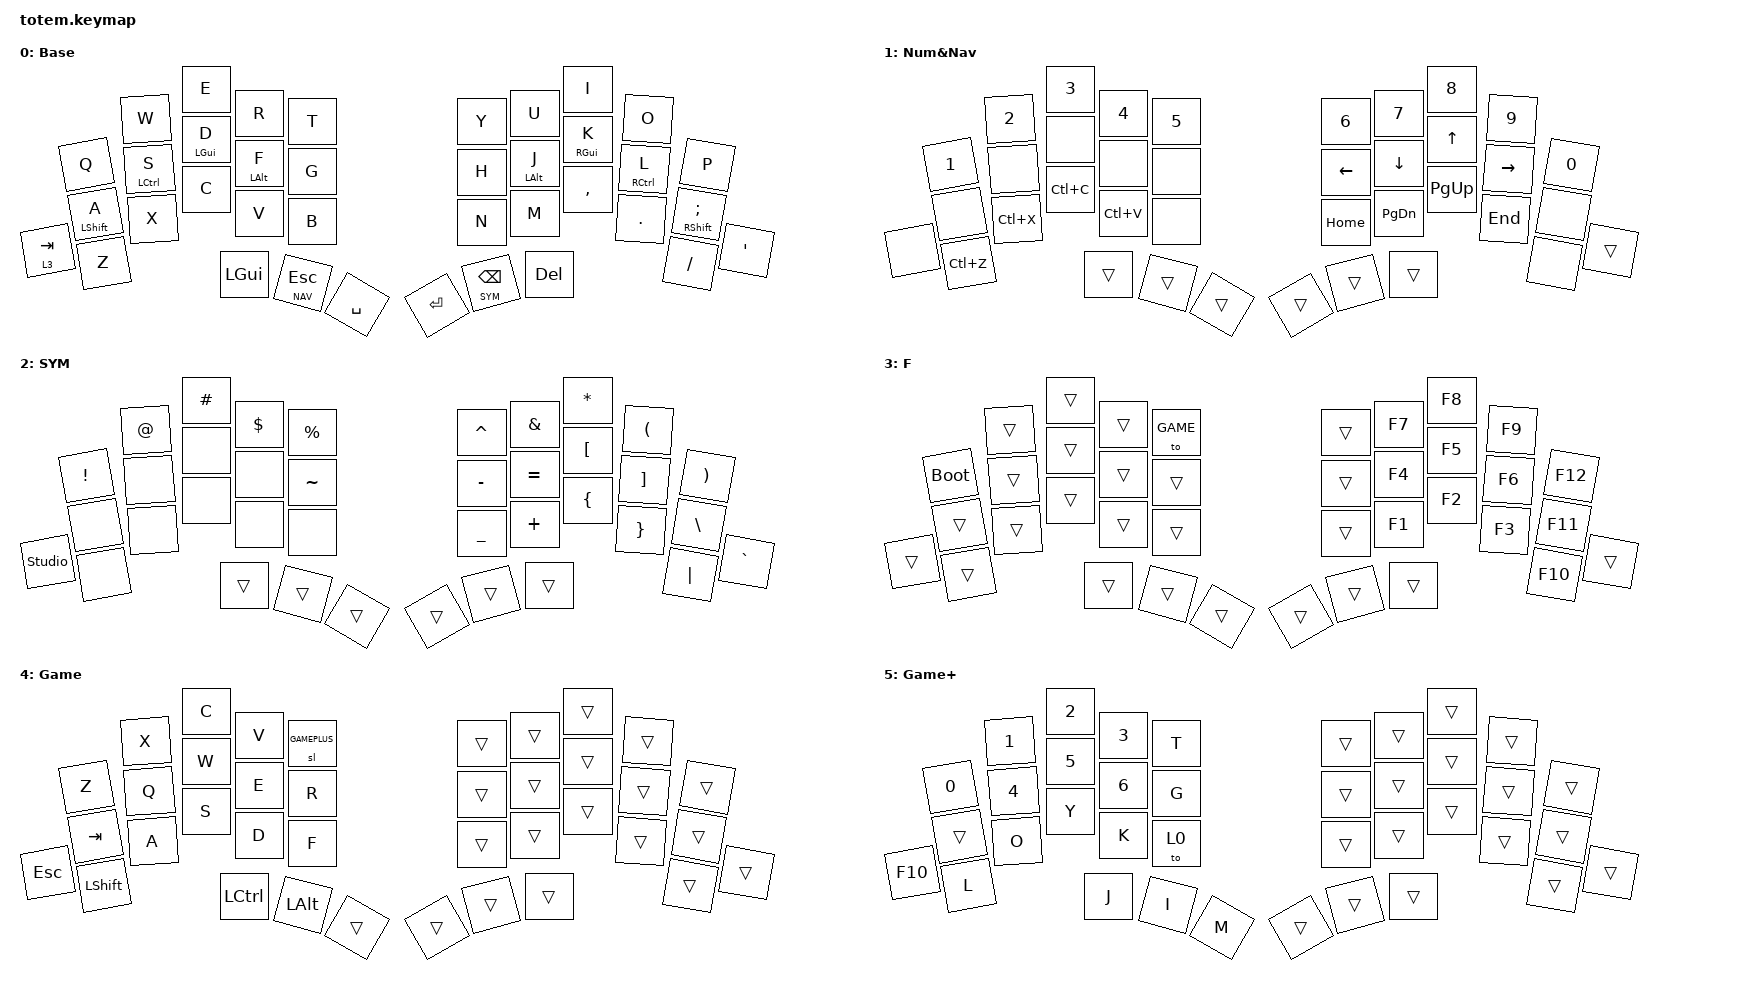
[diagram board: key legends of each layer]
//
//                                                        ▀▀▀▀▀     ▀▀▀▀▀          ▀▀█▀▀
//                                                        ▄▀▀▀▄  ▄  ▄▀▀▀▄  ▄  ▄▀▀▀▄  █  ▄▀▀▀▄
//                                                        █   █  █  █   █  █  █   █  █  █   █
//                                                         ▀▀▀   █   ▀▀▀   █   ▀▀▀   ▀   ▀▀▀
//                                                               █      ▄▄▄█▄▄▄    █   █  
//                                                               ▀      █  █  █     █▄█
//                                                             ▀▀▀▀▀    █  █  █      ▀
//                                                                      ▀  ▀  ▀
//
// ▄▄▄▄▄▄▄▄▄▄▄▄▄▄▄▄▄▄▄▄▄▄▄▄▄▄▄▄▄▄▄▄▄▄▄▄▄▄▄▄▄▄▄▄▄▄▄▄▄▄▄▄▄▄▄▄▄▄▄▄▄▄▄▄▄▄▄▄▄▄▄▄▄▄▄▄▄▄▄▄▄▄▄▄▄▄▄▄▄▄▄▄▄▄▄▄▄▄▄▄▄▄▄▄▄▄▄▄▄▄▄▄▄▄▄▄▄▄▄▄▄▄▄▄▄▄▄▄▄▄▄▄▄▄▄▄▄▄▄▄▄▄▄▄▄▄▄▄▄
       

#include <behaviors.dtsi>
#include <dt-bindings/zmk/keys.h>
#include <dt-bindings/zmk/bt.h>
#include <dt-bindings/zmk/outputs.h>

#define BASE 0
#define NAV  1
#define SYM  2
#define FUN  3
#define GAME 4
#define GAMEPLUS 5

/ {
    behaviors {
        hm: homerow_mods {
            compatible = "zmk,behavior-hold-tap";
            label = "HOMEROW_MODS";
            #binding-cells = <2>;
            flavor = "tap-preferred";
            tapping-term-ms = <200>;
            quick-tap-ms = <125>;
            global-quick-tap;
            require-prior-idle-ms = <120>;
            bindings = <&kp>, <&kp>;
        };

        tl: layer_tap_sym {
            compatible = "zmk,behavior-hold-tap";
            #binding-cells = <2>;
            bindings = <&mo>, <&kp>;
            flavor = "hold-preferred";
            tapping-term-ms = <200>;
            quick-tap-ms = <125>;
            //require-prior-idle-ms = <75>
        };
    };

	combos { compatible = "zmk,combos"; };

        keymap {
                compatible = "zmk,keymap";
// ▄▄▄▄▄▄▄▄▄▄▄▄▄▄▄▄▄▄▄▄▄▄▄▄▄▄▄▄▄▄▄▄▄▄▄▄▄▄▄▄▄▄▄▄▄▄▄▄▄▄▄▄▄▄▄▄▄▄▄▄▄▄▄▄▄▄▄▄▄▄▄▄▄▄▄▄▄▄▄▄▄▄▄▄▄▄▄▄▄▄▄▄▄▄▄▄▄▄▄▄▄▄▄▄▄▄▄▄▄▄▄▄▄▄▄▄▄▄▄▄▄▄▄▄▄▄▄▄▄▄▄▄▄▄▄▄▄▄▄▄▄▄▄▄▄▄▄▄▄

                base_layer {
// ┏━━━━━━━━━━━━━━━━━━━━━━━━━━━━━━━━━━━━━━━┓
label= "BASE"                              ;
display-name = "Base"                      ;
// ┗━━━━━━━━━━━━━━━━━━━━━━━━━━━━━━━━━━━━━━━┛
//             ┏━━━━━━━━━━━┳━━━━━━━━━━━┳━━━━━━━━━━━┳━━━━━━━━━━━┳━━━━━━━━━━━┓   ┏━━━━━━━━━━━┳━━━━━━━━━━━┳━━━━━━━━━━━┳━━━━━━━━━━━┳━━━━━━━━━━━┓
//             ┃     Q     ┃     W     ┃     E     ┃     R     ┃     T     ┃   ┃     Y     ┃     U     ┃     I     ┃     O     ┃     P     ┃
//             ┣━━━━━━━━━━━╋━━━━━━━━━━━╋━━━━━━━━━━━╋━━━━━━━━━━━╋━━━━━━━━━━━┫   ┣━━━━━━━━━━━╋━━━━━━━━━━━╋━━━━━━━━━━━╋━━━━━━━━━━━╋━━━━━━━━━━━┫
//             ┃ SFT A     ┃ CTR S     ┃ GUI D     ┃     F     ┃     G     ┃   ┃     H     ┃     J     ┃ GUI K     ┃ CTR L     ┃ SFT ;     ┃
// ┏━━━━━━━━━━━╋━━━━━━━━━━━╋━━━━━━━━━━━╋━━━━━━━━━━━╋━━━━━━━━━━━╋━━━━━━━━━━━┫   ┣━━━━━━━━━━━╋━━━━━━━━━━━╋━━━━━━━━━━━╋━━━━━━━━━━━╋━━━━━━━━━━━╋━━━━━━━━━━━┓
// ┃    TAB    ┃     Z     ┃     X     ┃     C     ┃     V     ┃     B     ┃   ┃     N     ┃     M     ┃     ,     ┃     .     ┃     /     ┃     '     ┃
// ┗━━━━━━━━━━━┻━━━━━━━━━━━┻━━━━━━━━━━━╋━━━━━━━━━━━╋━━━━━━━━━━━╋━━━━━━━━━━━┫   ┣━━━━━━━━━━━╋━━━━━━━━━━━╋━━━━━━━━━━━╋━━━━━━━━━━━┻━━━━━━━━━━━┻━━━━━━━━━━━┛
//                                     ┃    GUI    ┃    ESC    ┃    SPC    ┃   ┃   ENTER   ┃   BKSPC   ┃    DEL    ┃
//                                     ┗━━━━━━━━━━━┻━━━━━━━━━━━┻━━━━━━━━━━━┛   ┗━━━━━━━━━━━┻━━━━━━━━━━━┻━━━━━━━━━━━┛
 bindings = <
// ╷           ╷             ╷           ╷           ╷           ╷           ╷   ╷           ╷           ╷           ╷           ╷           ╷           ╷

                &kp Q        &kp W        &kp E        &kp R         &kp T           &kp Y     &kp U          &kp I        &kp O        &kp P
                &hm LSHFT A  &hm LCTRL S  &hm LGUI D   &hm LALT F    &kp G           &kp H     &hm LALT J     &hm RGUI K   &hm RCTRL L  &hm RSHFT SEMI
    &lt 3 TAB   &kp Z        &kp X        &kp C        &kp V         &kp B           &kp N     &kp M          &kp COMMA    &kp DOT      &kp FSLH        &kp APOS
                                          &kp LGUI     &tl NAV ESC   &kp SPACE       &kp RET   &tl SYM BSPC   &kp DEL
                        >;
                };

// ▄▄▄▄▄▄▄▄▄▄▄▄▄▄▄▄▄▄▄▄▄▄▄▄▄▄▄▄▄▄▄▄▄▄▄▄▄▄▄▄▄▄▄▄▄▄▄▄▄▄▄▄▄▄▄▄▄▄▄▄▄▄▄▄▄▄▄▄▄▄▄▄▄▄▄▄▄▄▄▄▄▄▄▄▄▄▄▄▄▄▄▄▄▄▄▄▄▄▄▄▄▄▄▄▄▄▄▄▄▄▄▄▄▄▄▄▄▄▄▄▄▄▄▄▄▄▄▄▄▄▄▄▄▄▄▄▄▄▄▄▄▄▄▄▄▄▄▄▄


                nav_layer {
// ┏━━━━━━━━━━━━━━━━━━━━━━━━━━━━━━━━━━━━━━━┓
label= "NAV"                               ;
display-name = "Num&Nav"                   ;
// ┗━━━━━━━━━━━━━━━━━━━━━━━━━━━━━━━━━━━━━━━┛
//             ┏━━━━━━━━━━━┳━━━━━━━━━━━┳━━━━━━━━━━━┳━━━━━━━━━━━┳━━━━━━━━━━━┓   ┏━━━━━━━━━━━┳━━━━━━━━━━━┳━━━━━━━━━━━┳━━━━━━━━━━━┳━━━━━━━━━━━┓
//             ┃     1     ┃     2     ┃     3     ┃     4     ┃     5     ┃   ┃     6     ┃     7     ┃     8     ┃     9     ┃     0     ┃
//             ┣━━━━━━━━━━━╋━━━━━━━━━━━╋━━━━━━━━━━━╋━━━━━━━━━━━╋━━━━━━━━━━━┫   ┣━━━━━━━━━━━╋━━━━━━━━━━━╋━━━━━━━━━━━╋━━━━━━━━━━━╋━━━━━━━━━━━┫
//             ┃           ┃           ┃           ┃           ┃           ┃   ┃   LEFT    ┃   DOWN    ┃     UP    ┃   RIGHT   ┃           ┃
// ┏━━━━━━━━━━━╋━━━━━━━━━━━╋━━━━━━━━━━━╋━━━━━━━━━━━╋━━━━━━━━━━━╋━━━━━━━━━━━┫   ┣━━━━━━━━━━━╋━━━━━━━━━━━╋━━━━━━━━━━━╋━━━━━━━━━━━╋━━━━━━━━━━━╋━━━━━━━━━━━┓
// ┃           ┃   LC(z)   ┃   LC(x)   ┃   LC(c)   ┃   LC(v)   ┃           ┃   ┃   HOME    ┃  PG DN    ┃  PG UP    ┃    END    ┃           ┃           ┃
// ┗━━━━━━━━━━━┻━━━━━━━━━━━┻━━━━━━━━━━━╋━━━━━━━━━━━╋━━━━━━━━━━━╋━━━━━━━━━━━┫   ┣━━━━━━━━━━━╋━━━━━━━━━━━╋━━━━━━━━━━━╋━━━━━━━━━━━┻━━━━━━━━━━━┻━━━━━━━━━━━┛
//                                     ┃           ┃           ┃           ┃   ┃           ┃           ┃           ┃
//                                     ┗━━━━━━━━━━━┻━━━━━━━━━━━┻━━━━━━━━━━━┛   ┗━━━━━━━━━━━┻━━━━━━━━━━━┻━━━━━━━━━━━┛
 bindings = <
// ╷           ╷           ╷           ╷           ╷           ╷           ╷   ╷           ╷           ╷           ╷           ╷           ╷           ╷

                &kp N1      &kp N2      &kp N3      &kp N4      &kp N5          &kp N6      &kp N7      &kp N8      &kp N9      &kp N0
                &none       &none       &none       &none       &none           &kp LEFT    &kp DOWN    &kp UP      &kp RIGHT   &none
    &none       &kp LC(Z)   &kp LC(X)   &kp LC(C)   &kp LC(V)   &none           &kp HOME    &kp PG_DN   &kp PG_UP   &kp END     &none      &trans
                                        &trans      &trans      &trans          &trans      &trans      &trans
                        >;
                };

// ▄▄▄▄▄▄▄▄▄▄▄▄▄▄▄▄▄▄▄▄▄▄▄▄▄▄▄▄▄▄▄▄▄▄▄▄▄▄▄▄▄▄▄▄▄▄▄▄▄▄▄▄▄▄▄▄▄▄▄▄▄▄▄▄▄▄▄▄▄▄▄▄▄▄▄▄▄▄▄▄▄▄▄▄▄▄▄▄▄▄▄▄▄▄▄▄▄▄▄▄▄▄▄▄▄▄▄▄▄▄▄▄▄▄▄▄▄▄▄▄▄▄▄▄▄▄▄▄▄▄▄▄▄▄▄▄▄▄▄▄▄▄▄▄▄▄▄▄▄


                sim_layer {
// ┏━━━━━━━━━━━━━━━━━━━━━━━━━━━━━━━━━━━━━━━┓
label= "SYM"                               ;
display-name = "SYM"                       ;
// ┗━━━━━━━━━━━━━━━━━━━━━━━━━━━━━━━━━━━━━━━┛
//             ┏━━━━━━━━━━━┳━━━━━━━━━━━┳━━━━━━━━━━━┳━━━━━━━━━━━┳━━━━━━━━━━━┓   ┏━━━━━━━━━━━┳━━━━━━━━━━━┳━━━━━━━━━━━┳━━━━━━━━━━━┳━━━━━━━━━━━┓
//             ┃     !     ┃     @     ┃     #     ┃     $     ┃     %     ┃   ┃     ˆ     ┃     &     ┃     *     ┃     (     ┃     )     ┃
//             ┣━━━━━━━━━━━╋━━━━━━━━━━━╋━━━━━━━━━━━╋━━━━━━━━━━━╋━━━━━━━━━━━┫   ┣━━━━━━━━━━━╋━━━━━━━━━━━╋━━━━━━━━━━━╋━━━━━━━━━━━╋━━━━━━━━━━━┫
//             ┃           ┃           ┃           ┃           ┃     ~     ┃   ┃     -     ┃     =     ┃    [      ┃    ]      ┃     \     ┃
// ┏━━━━━━━━━━━╋━━━━━━━━━━━╋━━━━━━━━━━━╋━━━━━━━━━━━╋━━━━━━━━━━━╋━━━━━━━━━━━┫   ┣━━━━━━━━━━━╋━━━━━━━━━━━╋━━━━━━━━━━━╋━━━━━━━━━━━╋━━━━━━━━━━━╋━━━━━━━━━━━┓
// ┃  studio   ┃           ┃           ┃           ┃           ┃           ┃   ┃     _     ┃     +     ┃    {      ┃     }     ┃     |     ┃     `     ┃
// ┗━━━━━━━━━━━┻━━━━━━━━━━━┻━━━━━━━━━━━╋━━━━━━━━━━━╋━━━━━━━━━━━╋━━━━━━━━━━━┫   ┣━━━━━━━━━━━╋━━━━━━━━━━━╋━━━━━━━━━━━╋━━━━━━━━━━━┻━━━━━━━━━━━┻━━━━━━━━━━━┛
//                                     ┃           ┃           ┃           ┃   ┃           ┃           ┃           ┃
//                                     ┗━━━━━━━━━━━┻━━━━━━━━━━━┻━━━━━━━━━━━┛   ┗━━━━━━━━━━━┻━━━━━━━━━━━┻━━━━━━━━━━━┛
 bindings = <
// ╷           ╷           ╷           ╷           ╷           ╷           ╷   ╷           ╷           ╷           ╷           ╷           ╷           ╷

                     &kp EXCL    &kp AT      &kp HASH    &kp DLLR    &kp PRCNT       &kp CARET   &kp AMPS    &kp STAR   &kp LPAR    &kp RPAR
                     &none       &none       &none       &none       &kp TILDE       &kp MINUS   &kp EQUAL   &kp LBKT   &kp RBKT    &kp BSLH
    &studio_unlock   &none       &none       &none       &none       &none           &kp UNDER   &kp PLUS    &kp LBRC   &kp RBRC    &kp PIPE   &kp GRAVE
                                             &trans      &trans      &trans         &trans      &trans    &trans
                        >;
                };

// ▄▄▄▄▄▄▄▄▄▄▄▄▄▄▄▄▄▄▄▄▄▄▄▄▄▄▄▄▄▄▄▄▄▄▄▄▄▄▄▄▄▄▄▄▄▄▄▄▄▄▄▄▄▄▄▄▄▄▄▄▄▄▄▄▄▄▄▄▄▄▄▄▄▄▄▄▄▄▄▄▄▄▄▄▄▄▄▄▄▄▄▄▄▄▄▄▄▄▄▄▄▄▄▄▄▄▄▄▄▄▄▄▄▄▄▄▄▄▄▄▄▄▄▄▄▄▄▄▄▄▄▄▄▄▄▄▄▄▄▄▄▄▄▄▄▄▄▄▄


                FUN_layer {
// ┏━━━━━━━━━━━━━━━━━━━━━━━━━━━━━━━━━━━━━━━┓
label= "FUN"                               ;
display-name = "F"                         ;
// ┗━━━━━━━━━━━━━━━━━━━━━━━━━━━━━━━━━━━━━━━┛
//             ┏━━━━━━━━━━━┳━━━━━━━━━━━┳━━━━━━━━━━━┳━━━━━━━━━━━┳━━━━━━━━━━━┓   ┏━━━━━━━━━━━┳━━━━━━━━━━━┳━━━━━━━━━━━┳━━━━━━━━━━━┳━━━━━━━━━━━┓
//             ┃   RESET   ┃           ┃           ┃           ┃  to GAME  ┃   ┃           ┃    F7     ┃    F8     ┃    F9     ┃    F12    ┃
//             ┣━━━━━━━━━━━╋━━━━━━━━━━━╋━━━━━━━━━━━╋━━━━━━━━━━━╋━━━━━━━━━━━┫   ┣━━━━━━━━━━━╋━━━━━━━━━━━╋━━━━━━━━━━━╋━━━━━━━━━━━╋━━━━━━━━━━━┫
//             ┃ BOOTLOAD  ┃           ┃           ┃           ┃           ┃   ┃           ┃    F4     ┃    F5     ┃    F6     ┃    F11    ┃
// ┏━━━━━━━━━━━╋━━━━━━━━━━━╋━━━━━━━━━━━╋━━━━━━━━━━━╋━━━━━━━━━━━╋━━━━━━━━━━━┫   ┣━━━━━━━━━━━╋━━━━━━━━━━━╋━━━━━━━━━━━╋━━━━━━━━━━━╋━━━━━━━━━━━╋━━━━━━━━━━━┓
// ┃           ┃           ┃           ┃           ┃           ┃           ┃   ┃           ┃    F1     ┃    F2     ┃    F3     ┃    F10    ┃           ┃
// ┗━━━━━━━━━━━┻━━━━━━━━━━━┻━━━━━━━━━━━╋━━━━━━━━━━━╋━━━━━━━━━━━╋━━━━━━━━━━━┫   ┣━━━━━━━━━━━╋━━━━━━━━━━━╋━━━━━━━━━━━╋━━━━━━━━━━━┻━━━━━━━━━━━┻━━━━━━━━━━━┛
//                                     ┃           ┃           ┃           ┃   ┃           ┃           ┃           ┃
//                                     ┗━━━━━━━━━━━┻━━━━━━━━━━━┻━━━━━━━━━━━┛   ┗━━━━━━━━━━━┻━━━━━━━━━━━┻━━━━━━━━━━━┛
 bindings = <
// ╷           ╷           ╷           ╷           ╷           ╷           ╷   ╷           ╷           ╷           ╷           ╷           ╷           ╷

                &bootloader  	&trans 	&trans 	&trans      &to GAME          &trans      &kp F7      &kp F8      &kp F9      &kp F12
                &trans 			&trans  &trans  &trans      &trans          &trans      &kp F4      &kp F5      &kp F6      &kp F11
    &trans      &trans      	&trans  &trans  &trans      &trans          &trans      &kp F1      &kp F2      &kp F3      &kp F10     &trans
                                        &trans  &trans      &trans          &trans      &trans      &trans
                        >;
                };

// ▄▄▄▄▄▄▄▄▄▄▄▄▄▄▄▄▄▄▄▄▄▄▄▄▄▄▄▄▄▄▄▄▄▄▄▄▄▄▄▄▄▄▄▄▄▄▄▄▄▄▄▄▄▄▄▄▄▄▄▄▄▄▄▄▄▄▄▄▄▄▄▄▄▄▄▄▄▄▄▄▄▄▄▄▄▄▄▄▄▄▄▄▄▄▄▄▄▄▄▄▄▄▄▄▄▄▄▄▄▄▄▄▄▄▄▄▄▄▄▄▄▄▄▄▄▄▄▄▄▄▄▄▄▄▄▄▄▄▄▄▄▄▄▄▄▄▄▄▄


                GAME_layer {
// ┏━━━━━━━━━━━━━━━━━━━━━━━━━━━━━━━━━━━━━━━┓
label= "GAME"                              ;
display-name = "Game"                      ;
// ┗━━━━━━━━━━━━━━━━━━━━━━━━━━━━━━━━━━━━━━━┛
//             ┏━━━━━━━━━━━┳━━━━━━━━━━━┳━━━━━━━━━━━┳━━━━━━━━━━━┳━━━━━━━━━━━┓   ┏━━━━━━━━━━━┳━━━━━━━━━━━┳━━━━━━━━━━━┳━━━━━━━━━━━┳━━━━━━━━━━━┓
//             ┃    z      ┃     x     ┃     c     ┃     v     ┃ to +      ┃   ┃           ┃           ┃           ┃           ┃           ┃
//             ┣━━━━━━━━━━━╋━━━━━━━━━━━╋━━━━━━━━━━━╋━━━━━━━━━━━╋━━━━━━━━━━━┫   ┣━━━━━━━━━━━╋━━━━━━━━━━━╋━━━━━━━━━━━╋━━━━━━━━━━━╋━━━━━━━━━━━┫
//             ┃    tab    ┃     q     ┃     w     ┃     e     ┃     r     ┃   ┃           ┃           ┃           ┃           ┃           ┃
// ┏━━━━━━━━━━━╋━━━━━━━━━━━╋━━━━━━━━━━━╋━━━━━━━━━━━╋━━━━━━━━━━━╋━━━━━━━━━━━┫   ┣━━━━━━━━━━━╋━━━━━━━━━━━╋━━━━━━━━━━━╋━━━━━━━━━━━╋━━━━━━━━━━━╋━━━━━━━━━━━┓
// ┃ ESC       ┃ SHIFT     ┃    a      ┃      s    ┃     d     ┃     f     ┃   ┃           ┃           ┃           ┃           ┃           ┃           ┃
// ┗━━━━━━━━━━━┻━━━━━━━━━━━┻━━━━━━━━━━━╋━━━━━━━━━━━╋━━━━━━━━━━━╋━━━━━━━━━━━┫   ┣━━━━━━━━━━━╋━━━━━━━━━━━╋━━━━━━━━━━━╋━━━━━━━━━━━┻━━━━━━━━━━━┻━━━━━━━━━━━┛
//                                     ┃    ctr    ┃    alt    ┃  space    ┃   ┃           ┃           ┃           ┃
//                                     ┗━━━━━━━━━━━┻━━━━━━━━━━━┻━━━━━━━━━━━┛   ┗━━━━━━━━━━━┻━━━━━━━━━━━┻━━━━━━━━━━━┛
 bindings = <
// ╷           ╷           ╷           ╷           ╷           ╷           ╷   ╷           ╷           ╷           ╷           ╷           ╷           ╷

            &kp Z           &kp X  &kp C      &kp V         &sl GAMEPLUS     &trans  &trans  &trans  &trans  &trans
            &kp TAB         &kp Q  &kp W      &kp E         &kp R            &trans  &trans  &trans  &trans  &trans
&kp ESCAPE  &kp LEFT_SHIFT  &kp A  &kp S      &kp D         &kp F            &trans  &trans  &trans  &trans  &trans  &trans
                                   &kp LCTRL  &kp LEFT_ALT  &trans           &trans  &trans  &trans
                        >;
                };

// ▄▄▄▄▄▄▄▄▄▄▄▄▄▄▄▄▄▄▄▄▄▄▄▄▄▄▄▄▄▄▄▄▄▄▄▄▄▄▄▄▄▄▄▄▄▄▄▄▄▄▄▄▄▄▄▄▄▄▄▄▄▄▄▄▄▄▄▄▄▄▄▄▄▄▄▄▄▄▄▄▄▄▄▄▄▄▄▄▄▄▄▄▄▄▄▄▄▄▄▄▄▄▄▄▄▄▄▄▄▄▄▄▄▄▄▄▄▄▄▄▄▄▄▄▄▄▄▄▄▄▄▄▄▄▄▄▄▄▄▄▄▄▄▄▄▄▄▄▄


                GAMEPLUS_layer {
// ┏━━━━━━━━━━━━━━━━━━━━━━━━━━━━━━━━━━━━━━━┓
label= "GAME+"                             ;
display-name = "Game+"                     ;
// ┗━━━━━━━━━━━━━━━━━━━━━━━━━━━━━━━━━━━━━━━┛
//             ┏━━━━━━━━━━━┳━━━━━━━━━━━┳━━━━━━━━━━━┳━━━━━━━━━━━┳━━━━━━━━━━━┓   ┏━━━━━━━━━━━┳━━━━━━━━━━━┳━━━━━━━━━━━┳━━━━━━━━━━━┳━━━━━━━━━━━┓
//             ┃     0     ┃     1     ┃      2    ┃     3     ┃    t      ┃   ┃           ┃           ┃           ┃           ┃           ┃
//             ┣━━━━━━━━━━━╋━━━━━━━━━━━╋━━━━━━━━━━━╋━━━━━━━━━━━╋━━━━━━━━━━━┫   ┣━━━━━━━━━━━╋━━━━━━━━━━━╋━━━━━━━━━━━╋━━━━━━━━━━━╋━━━━━━━━━━━┫
//             ┃           ┃     4     ┃     5     ┃     6     ┃     g     ┃   ┃           ┃           ┃           ┃           ┃           ┃
// ┏━━━━━━━━━━━╋━━━━━━━━━━━╋━━━━━━━━━━━╋━━━━━━━━━━━╋━━━━━━━━━━━╋━━━━━━━━━━━┫   ┣━━━━━━━━━━━╋━━━━━━━━━━━╋━━━━━━━━━━━╋━━━━━━━━━━━╋━━━━━━━━━━━╋━━━━━━━━━━━┓
// ┃    F10    ┃      l    ┃     o     ┃     y     ┃     k     ┃    BASE   ┃   ┃           ┃           ┃           ┃           ┃           ┃           ┃
// ┗━━━━━━━━━━━┻━━━━━━━━━━━┻━━━━━━━━━━━╋━━━━━━━━━━━╋━━━━━━━━━━━╋━━━━━━━━━━━┫   ┣━━━━━━━━━━━╋━━━━━━━━━━━╋━━━━━━━━━━━╋━━━━━━━━━━━┻━━━━━━━━━━━┻━━━━━━━━━━━┛
//                                     ┃     j     ┃     i           m     ┃   ┃           ┃           ┃           ┃
//                                     ┗━━━━━━━━━━━┻━━━━━━━━━━━┻━━━━━━━━━━━┛   ┗━━━━━━━━━━━┻━━━━━━━━━━━┻━━━━━━━━━━━┛
 bindings = <
// ╷           ╷           ╷           ╷           ╷           ╷           ╷   ╷           ╷           ╷           ╷           ╷           ╷           ╷

         &kp N0    &kp N1    &kp N2     &kp N3      &kp T         &trans  &trans  &trans  &trans  &trans
         &trans    &kp N4    &kp N5     &kp N6      &kp G         &trans  &trans  &trans  &trans  &trans
&kp F10  &kp L     &kp O     &kp Y      &kp K       &to 0         &trans  &trans  &trans  &trans  &trans  &trans
                             &kp J      &kp I       &kp M         &trans  &trans  &trans
                        >;
                };
        };
};
